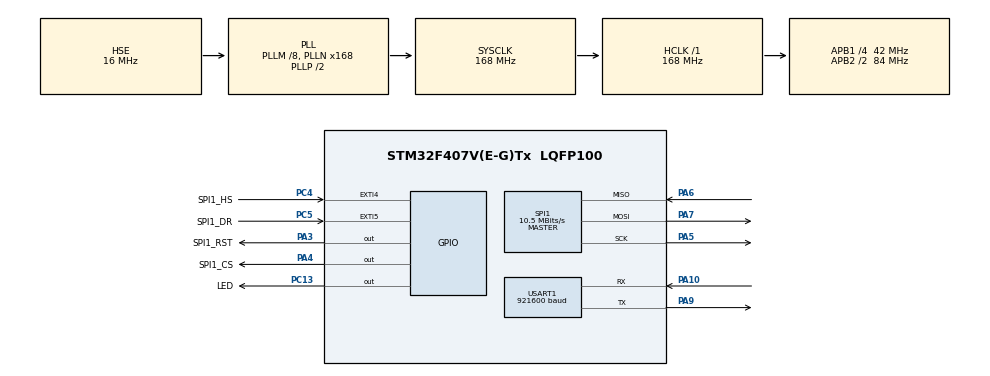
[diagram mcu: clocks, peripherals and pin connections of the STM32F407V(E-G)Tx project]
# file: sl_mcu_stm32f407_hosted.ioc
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Mcu.Family=STM32F4
Mcu.Name=STM32F407V(E-G)Tx
Mcu.Package=LQFP100
NVIC.EXTI4_IRQn=true\:0\:0\:false\:false\:true\:true\:true\:true
NVIC.EXTI9_5_IRQn=true\:0\:0\:false\:false\:true\:true\:true\:true
NVIC.PriorityGroup=NVIC_PRIORITYGROUP_4
PA10.Mode=Asynchronous
PA10.Signal=USART1_RX
PA13.Mode=Trace_Asynchronous_SW
PA13.Signal=SYS_JTMS-SWDIO
PA14.Mode=Trace_Asynchronous_SW
PA14.Signal=SYS_JTCK-SWCLK
PA3.GPIO_Label=SPI1_RST
PA3.GPIO_ModeDefaultOutputPP=GPIO_MODE_OUTPUT_OD
PA3.GPIO_PuPd=GPIO_NOPULL
PA3.PinState=GPIO_PIN_SET
PA3.Signal=GPIO_Output
PA4.GPIO_Label=SPI1_CS
PA4.GPIO_Speed=GPIO_SPEED_FREQ_VERY_HIGH
PA4.PinState=GPIO_PIN_SET
PA4.Signal=GPIO_Output
PA5.GPIO_Speed=GPIO_SPEED_FREQ_LOW
PA5.Mode=Full_Duplex_Master
PA5.Signal=SPI1_SCK
PA6.GPIO_Speed=GPIO_SPEED_FREQ_LOW
PA6.Mode=Full_Duplex_Master
PA6.Signal=SPI1_MISO
PA7.GPIO_Speed=GPIO_SPEED_FREQ_LOW
PA7.Mode=Full_Duplex_Master
PA7.Signal=SPI1_MOSI
PA9.Mode=Asynchronous
PA9.Signal=USART1_TX
PB3.Mode=Trace_Asynchronous_SW
PB3.Signal=SYS_JTDO-SWO
PC13-ANTI_TAMP.GPIO_Label=LED
PC13-ANTI_TAMP.GPIO_ModeDefaultOutputPP=GPIO_MODE_OUTPUT_OD
PC13-ANTI_TAMP.GPIO_PuPd=GPIO_NOPULL
PC13-ANTI_TAMP.PinState=GPIO_PIN_SET
PC13-ANTI_TAMP.Signal=GPIO_Output
PC4.GPIO_Label=SPI1_HS
PC4.GPIO_PuPd=GPIO_PULLDOWN
PC4.Signal=GPXTI4
PC5.GPIO_Label=SPI1_DR
PC5.GPIO_PuPd=GPIO_PULLDOWN
PC5.Signal=GPXTI5
PH0-OSC_IN.Mode=HSE-External-Oscillator
PH0-OSC_IN.Signal=RCC_OSC_IN
PH1-OSC_OUT.Mode=HSE-External-Oscillator
PH1-OSC_OUT.Signal=RCC_OSC_OUT
ProjectManager.HeapSize=0x200
ProjectManager.StackSize=0x400
ProjectManager.TargetToolchain=STM32CubeIDE
RCC.48MHZClocksFreq_Value=84000000
RCC.AHBFreq_Value=168000000
RCC.APB1CLKDivider=RCC_HCLK_DIV4
RCC.APB1Freq_Value=42000000
RCC.APB1TimFreq_Value=84000000
RCC.APB2CLKDivider=RCC_HCLK_DIV2
RCC.APB2Freq_Value=84000000
RCC.APB2TimFreq_Value=168000000
RCC.CortexFreq_Value=168000000
RCC.HCLKFreq_Value=168000000
RCC.HSE_VALUE=16000000
RCC.HSI_VALUE=16000000
RCC.LSE_VALUE=32768
RCC.PLLM=8
RCC.PLLN=168
RCC.PLLSourceVirtual=RCC_PLLSOURCE_HSE
RCC.SYSCLKFreq_VALUE=168000000
RCC.SYSCLKSource=RCC_SYSCLKSOURCE_PLLCLK
RCC.VCOOutputFreq_Value=336000000
SPI1.BaudRatePrescaler=SPI_BAUDRATEPRESCALER_8
SPI1.CLKPhase=SPI_PHASE_2EDGE
SPI1.CLKPolarity=SPI_POLARITY_HIGH
SPI1.CalculateBaudRate=10.5 MBits/s
SPI1.Direction=SPI_DIRECTION_2LINES
SPI1.Mode=SPI_MODE_MASTER
SPI1.VirtualType=VM_MASTER
USART1.BaudRate=921600
USART1.VirtualMode=VM_ASYNC
board=custom

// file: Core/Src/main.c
/* USER CODE BEGIN Header */
/**
 ******************************************************************************
 * @file           : main.c
 * @brief          : Main program body
 ******************************************************************************
 * @attention
 *
 * Copyright (c) 2026 STM32World <lth@stm32world.com>
 * All rights reserved.
 *
 * This software is licensed under terms that can be found in the LICENSE file
 * in the root directory of this software component.
 * If no LICENSE file comes with this software, it is provided AS-IS.
 *
 ******************************************************************************
 */
/* USER CODE END Header */
#include "main.h"

/* USER CODE BEGIN Includes */
#include <stdio.h>
#include "esp_host.h"
#include "esp_rpc.h"
#include "wifi_sta.h"
#include "wifi_secrets.h"
#include "wifi_netif.h"
#include "http_server.h"
#include "daytime.h"

/* USER CODE END Includes */

SPI_HandleTypeDef hspi1;

UART_HandleTypeDef huart1;

void SystemClock_Config(void);
static void MX_GPIO_Init(void);
static void MX_SPI1_Init(void);
static void MX_USART1_UART_Init(void);

/* USER CODE BEGIN 0 */

// printf goes to USART1 (PA9/PA10, 921600 baud), which the ST-Link passes
// on as its virtual COM port. newlib's _write() (syscalls.c) calls this for
// every character; "\n" becomes "\r\n" for terminal programs. Blocking: a
// long printf holds up the main loop (at 921600 baud, about 11 us per byte).
int __io_putchar(int ch) {
    if (ch == '\n') {
        HAL_UART_Transmit(&huart1, (uint8_t*) "\r", 1, HAL_MAX_DELAY);
    }
    if (HAL_UART_Transmit(&huart1, (uint8_t*) &ch, 1, HAL_MAX_DELAY) != HAL_OK) {
        return -1;
    }
    return ch;
}

/* USER CODE END 0 */

int main(void)
{

  /* MCU Configuration--------------------------------------------------------*/

  /* Reset of all peripherals, Initializes the Flash interface and the Systick. */
  HAL_Init();

  /* Configure the system clock */
  SystemClock_Config();

  /* Initialize all configured peripherals */
  MX_GPIO_Init();
  MX_SPI1_Init();
  MX_USART1_UART_Init();
  /* USER CODE BEGIN 2 */

    printf("\n\n\nStarting Wi-Fi (ESP-Hosted)\n");

    // Order matters: the RPC layer and Wi-Fi state machine first, then lwIP
    // and the web server, then the transport, whose init resets the
    // coprocessor through EN. Credentials: Core/Inc/wifi_secrets.h.
    esp_rpc_init(wifi_sta_rpc_event);
    wifi_sta_init(WIFI_SSID, WIFI_PASSWORD);
    wifi_netif_init();
    http_server_init();
    esp_host_init(&hspi1);

  /* USER CODE END 2 */

  /* Infinite loop */
  /* USER CODE BEGIN WHILE */

    // The superloop. Nothing here blocks for long: every module keeps its own
    // state and does a little work per call. The SPI transfers themselves
    // run from interrupts (esp_spi.c); the main loop hands received frames
    // to RPC and lwIP, and runs the services.
    //  - The LED (PC13) blinks at 1 Hz: the loop is alive.
    //  - A status line every 30 s on the console.
    uint32_t now, next_blink = 500, next_status = 30000;

    while (1) {

        now = uwTick;

        if (now >= next_blink) {
            HAL_GPIO_TogglePin(LED_GPIO_Port, LED_Pin);
            next_blink = now + 500;
        }

        if (now >= next_status) {
            const esp_spi_stats_t *st = esp_spi_get_stats();
            uint32_t ip = wifi_netif_get_ip();
            printf("status: up %lu s, ip %lu.%lu.%lu.%lu, spi xfer %lu tx %lu rx %lu, errors %lu/%lu/%lu\n",
                    now / 1000, ip & 0xff, (ip >> 8) & 0xff, (ip >> 16) & 0xff, ip >> 24,
                    st->transactions, st->tx_frames, st->rx_frames,
                    st->rx_bad_checksum, st->rx_bad_header, st->spi_errors);
            next_status = now + 30000;
        }

        esp_host_poll();        // received frames to RPC/lwIP; the SPI transfers run from interrupts
        wifi_sta_poll();        // Wi-Fi bring-up over RPC, liveness, RSSI
        wifi_netif_poll();      // lwIP input and timers; the HTTP server runs in its callbacks
        daytime_poll();         // NIST time every 10 minutes

    /* USER CODE END WHILE */

    }
}

void SystemClock_Config(void)
{
  RCC_OscInitTypeDef RCC_OscInitStruct = {0};
  RCC_ClkInitTypeDef RCC_ClkInitStruct = {0};

  /** Configure the main internal regulator output voltage
  */
  __HAL_RCC_PWR_CLK_ENABLE();
  __HAL_PWR_VOLTAGESCALING_CONFIG(PWR_REGULATOR_VOLTAGE_SCALE1);

  /** Initializes the RCC Oscillators according to the specified parameters
  * in the RCC_OscInitTypeDef structure.
  */
  RCC_OscInitStruct.OscillatorType = RCC_OSCILLATORTYPE_HSE;
  RCC_OscInitStruct.HSEState = RCC_HSE_ON;
  RCC_OscInitStruct.PLL.PLLState = RCC_PLL_ON;
  RCC_OscInitStruct.PLL.PLLSource = RCC_PLLSOURCE_HSE;
  RCC_OscInitStruct.PLL.PLLM = 8;
  RCC_OscInitStruct.PLL.PLLN = 168;
  RCC_OscInitStruct.PLL.PLLP = RCC_PLLP_DIV2;
  RCC_OscInitStruct.PLL.PLLQ = 4;
  if (HAL_RCC_OscConfig(&RCC_OscInitStruct) != HAL_OK)
  {
    Error_Handler();
  }

  /** Initializes the CPU, AHB and APB buses clocks
  */
  RCC_ClkInitStruct.ClockType = RCC_CLOCKTYPE_HCLK|RCC_CLOCKTYPE_SYSCLK
                              |RCC_CLOCKTYPE_PCLK1|RCC_CLOCKTYPE_PCLK2;
  RCC_ClkInitStruct.SYSCLKSource = RCC_SYSCLKSOURCE_PLLCLK;
  RCC_ClkInitStruct.AHBCLKDivider = RCC_SYSCLK_DIV1;
  RCC_ClkInitStruct.APB1CLKDivider = RCC_HCLK_DIV4;
  RCC_ClkInitStruct.APB2CLKDivider = RCC_HCLK_DIV2;

  if (HAL_RCC_ClockConfig(&RCC_ClkInitStruct, FLASH_LATENCY_5) != HAL_OK)
  {
    Error_Handler();
  }
}

static void MX_SPI1_Init(void)
{

  /* SPI1 parameter configuration*/
  hspi1.Instance = SPI1;
  hspi1.Init.Mode = SPI_MODE_MASTER;
  hspi1.Init.Direction = SPI_DIRECTION_2LINES;
  hspi1.Init.DataSize = SPI_DATASIZE_8BIT;
  hspi1.Init.CLKPolarity = SPI_POLARITY_HIGH;
  hspi1.Init.CLKPhase = SPI_PHASE_2EDGE;
  hspi1.Init.NSS = SPI_NSS_SOFT;
  hspi1.Init.BaudRatePrescaler = SPI_BAUDRATEPRESCALER_8;
  hspi1.Init.FirstBit = SPI_FIRSTBIT_MSB;
  hspi1.Init.TIMode = SPI_TIMODE_DISABLE;
  hspi1.Init.CRCCalculation = SPI_CRCCALCULATION_DISABLE;
  hspi1.Init.CRCPolynomial = 10;
  if (HAL_SPI_Init(&hspi1) != HAL_OK)
  {
    Error_Handler();
  }

}

static void MX_USART1_UART_Init(void)
{

  huart1.Instance = USART1;
  huart1.Init.BaudRate = 921600;
  huart1.Init.WordLength = UART_WORDLENGTH_8B;
  huart1.Init.StopBits = UART_STOPBITS_1;
  huart1.Init.Parity = UART_PARITY_NONE;
  huart1.Init.Mode = UART_MODE_TX_RX;
  huart1.Init.HwFlowCtl = UART_HWCONTROL_NONE;
  huart1.Init.OverSampling = UART_OVERSAMPLING_16;
  if (HAL_UART_Init(&huart1) != HAL_OK)
  {
    Error_Handler();
  }

}

static void MX_GPIO_Init(void)
{
  GPIO_InitTypeDef GPIO_InitStruct = {0};

  /* GPIO Ports Clock Enable */
  __HAL_RCC_GPIOC_CLK_ENABLE();
  __HAL_RCC_GPIOH_CLK_ENABLE();
  __HAL_RCC_GPIOA_CLK_ENABLE();
  __HAL_RCC_GPIOB_CLK_ENABLE();

  /*Configure GPIO pin Output Level */
  HAL_GPIO_WritePin(LED_GPIO_Port, LED_Pin, GPIO_PIN_SET);

  /*Configure GPIO pin Output Level */
  HAL_GPIO_WritePin(GPIOA, SPI1_RST_Pin|SPI1_CS_Pin, GPIO_PIN_SET);

  /*Configure GPIO pin : LED_Pin */
  GPIO_InitStruct.Pin = LED_Pin;
  GPIO_InitStruct.Mode = GPIO_MODE_OUTPUT_OD;
  GPIO_InitStruct.Pull = GPIO_NOPULL;
  GPIO_InitStruct.Speed = GPIO_SPEED_FREQ_LOW;
  HAL_GPIO_Init(LED_GPIO_Port, &GPIO_InitStruct);

  /*Configure GPIO pin : SPI1_RST_Pin */
  GPIO_InitStruct.Pin = SPI1_RST_Pin;
  GPIO_InitStruct.Mode = GPIO_MODE_OUTPUT_OD;
  GPIO_InitStruct.Pull = GPIO_NOPULL;
  GPIO_InitStruct.Speed = GPIO_SPEED_FREQ_LOW;
  HAL_GPIO_Init(SPI1_RST_GPIO_Port, &GPIO_InitStruct);

  /*Configure GPIO pin : SPI1_CS_Pin */
  GPIO_InitStruct.Pin = SPI1_CS_Pin;
  GPIO_InitStruct.Mode = GPIO_MODE_OUTPUT_PP;
  GPIO_InitStruct.Pull = GPIO_NOPULL;
  GPIO_InitStruct.Speed = GPIO_SPEED_FREQ_VERY_HIGH;
  HAL_GPIO_Init(SPI1_CS_GPIO_Port, &GPIO_InitStruct);

  /*Configure GPIO pins : SPI1_HS_Pin SPI1_DR_Pin */
  GPIO_InitStruct.Pin = SPI1_HS_Pin|SPI1_DR_Pin;
  GPIO_InitStruct.Mode = GPIO_MODE_IT_RISING;
  GPIO_InitStruct.Pull = GPIO_PULLDOWN;
  HAL_GPIO_Init(GPIOC, &GPIO_InitStruct);

  /* EXTI interrupt init*/
  HAL_NVIC_SetPriority(EXTI4_IRQn, 0, 0);
  HAL_NVIC_EnableIRQ(EXTI4_IRQn);

  HAL_NVIC_SetPriority(EXTI9_5_IRQn, 0, 0);
  HAL_NVIC_EnableIRQ(EXTI9_5_IRQn);

}

void Error_Handler(void)
{
    __disable_irq();
    while (1)
    {
    }
}
